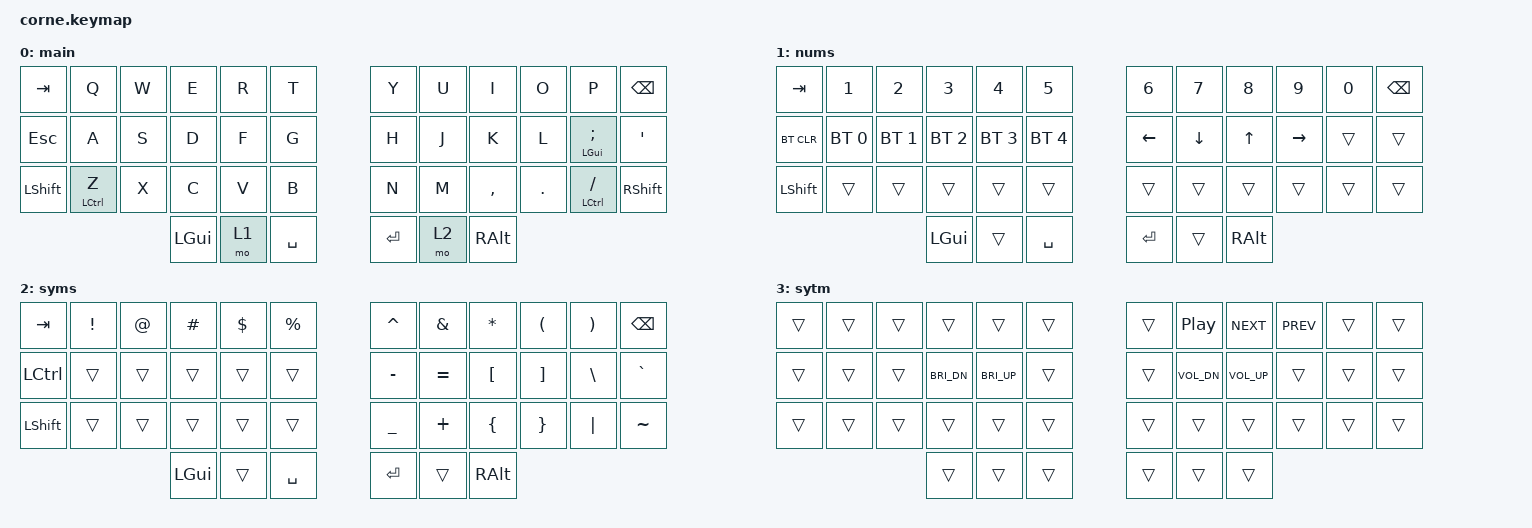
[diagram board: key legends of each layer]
/*
 * Copyright (c) 2020 The ZMK Contributors
 *
 * SPDX-License-Identifier: MIT
 */

#include <behaviors.dtsi>
#include <dt-bindings/zmk/keys.h>
#include <dt-bindings/zmk/bt.h>

/ {
    behaviors {
        hm: homerow_mods {
            compatible = "zmk,behavior-hold-tap";
            label = "HOMEROW_MODS";
            #binding-cells = <2>;
            tapping-term-ms = <150>;
            quick-tap-ms = <0>;
            flavor = "tap-preferred";
            bindings = <&kp>, <&kp>;
        };
    };

    combos {
        compatible = "zmk,combos";
        combo_caps {
            timeout-ms = <50>;
            key-positions = <12 23>;
            bindings = <&kp CAPS>;
        };
        };

        conditional_layers {
        compatible = "zmk,conditional-layers";
        tri_layer {
            if-layers = <1 2>;
            then-layer = <3>;
        };
        };

        keymap {

                compatible = "zmk,keymap";

                default_layer {
                        display-name = "main";
// -----------------------------------------------------------------------------------------
// |  TAB |  Q  |  W  |  E  |  R  |  T  |   |  Y  |  U   |  I  |  O  |  P  | BSPC |
// |  ESC |  A  |  S  |  D  |  F  |  G  |   |  H  |  J   |  K  |  L  | LGUI; |  '   |
// | SHFT | LCTL Z |  X  |  C  |  V  |  B  |   |  N  |  M   |  ,  |  .  | LCTL / | RSHFT |
//                    | GUI | LWR | SPC |   | ENT | RSE  | ALT |
                        bindings = <
   &kp TAB   &kp Q &kp W &kp E &kp R &kp T   &kp Y &kp U  &kp I     &kp O   &kp P    &kp BSPC
   &kp ESC   &kp A &kp S &kp D &kp F &kp G   &kp H &kp J  &kp K     &kp L   &hm LGUI SEMI &kp SQT
   &kp LSHFT &hm LCTRL Z &kp X &kp C &kp V &kp B   &kp N &kp M  &kp COMMA &kp DOT &hm LCTRL FSLH &kp RSHFT
                  &kp LGUI &mo 1 &kp SPACE   &kp RET &mo 2 &kp RALT
                        >;
                };
                nums {
                        display-name = "nums";
// -----------------------------------------------------------------------------------------
// |  TAB |  1  |  2  |  3  |  4  |  5  |   |  6  |  7  |  8  |  9  |  0  | BSPC |
// | BTCLR| BT1 | BT2 | BT3 | BT4 | BT5 |   | LFT | DWN |  UP | RGT |     |      |
// | SHFT |     |     |     |     |     |   |     |     |     |     |     |      |
//                    | GUI |     | SPC |   | ENT |     | ALT |
                        bindings = <
   &kp TAB    &kp N1       &kp N2       &kp N3       &kp N4       &kp N5         &kp N6   &kp N7   &kp N8 &kp N9    &kp N0 &kp BSPC
   &bt BT_CLR &bt BT_SEL 0 &bt BT_SEL 1 &bt BT_SEL 2 &bt BT_SEL 3 &bt BT_SEL 4   &kp LEFT &kp DOWN &kp UP &kp RIGHT &trans &trans
   &kp LSHFT  &trans       &trans       &trans       &trans       &trans         &trans   &trans   &trans &trans    &trans &trans
                                    &kp LGUI     &trans       &kp SPACE      &kp RET  &trans   &kp RALT
                        >;
                };

                sym {
                        display-name = "syms";
// -----------------------------------------------------------------------------------------
// |  TAB |  !  |  @  |  #  |  $  |  %  |   |  ^  |  &  |  *  |  (  |  )  | BSPC |
// | CTRL |     |     |     |     |     |   |  -  |  =  |  [  |  ]  |  \  |  `   |
// | SHFT |     |     |     |     |     |   |  _  |  +  |  {  |  }  | "|" |  ~   |
//                    | GUI |     | SPC |   | ENT |     | ALT |
                        bindings = <
   &kp  TAB  &kp EXCL &kp AT &kp HASH &kp DLLR &kp PRCNT   &kp CARET &kp AMPS  &kp ASTRK &kp LPAR &kp RPAR &kp BSPC
   &kp LCTRL &trans   &trans &trans   &trans   &trans      &kp MINUS &kp EQUAL &kp LBKT  &kp RBKT &kp BSLH &kp GRAVE
   &kp LSHFT &trans   &trans &trans   &trans   &trans      &kp UNDER &kp PLUS  &kp LBRC  &kp RBRC &kp PIPE &kp TILDE
                             &kp LGUI &trans   &kp SPACE   &kp RET   &trans    &kp RALT
                        >;
                };

                sytm {
                        display-name = "sytm";
// -----------------------------------------------------------------------------------------
// |      |     |     |     |     |     |   |     | PLAY| NEXT| PREV|     |      |
// |      |     |     | BRI-| BRI+|     |   |     | VOL-| VOL+|     |     |      |
// |      |     |     |     |     |     |   |     |     |     |     |     |      |
//                    |     |     |     |   |     |     |     |
                        bindings = <
   &trans &trans &trans &trans       &trans       &trans     &trans &kp C_PP     &kp C_NEXT   &kp C_PREV &trans &trans
   &trans &trans &trans &kp C_BRI_DN &kp C_BRI_UP &trans     &trans &kp C_VOL_DN &kp C_VOL_UP &trans     &trans &trans
   &trans &trans &trans &trans       &trans       &trans     &trans &trans       &trans       &trans &trans &trans
                        &trans       &trans       &trans     &trans &trans       &trans
                        >;
                };
        };
};
